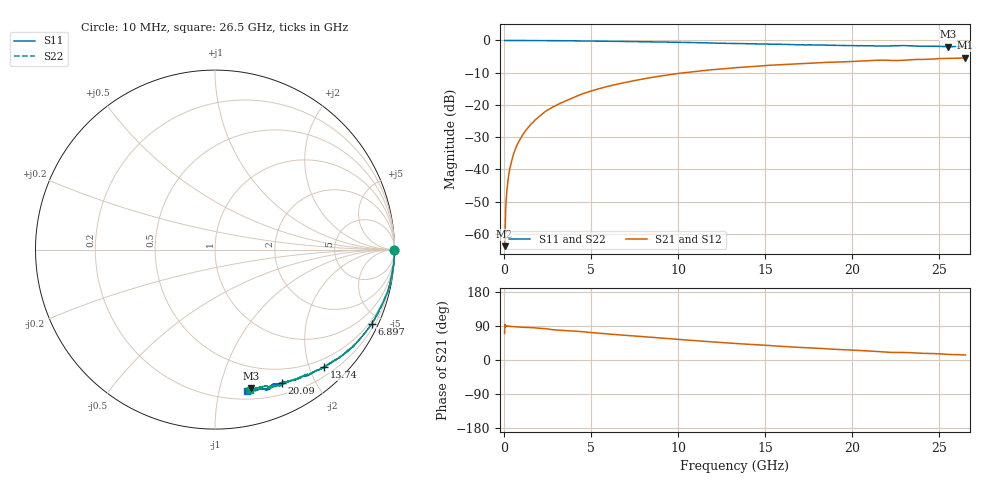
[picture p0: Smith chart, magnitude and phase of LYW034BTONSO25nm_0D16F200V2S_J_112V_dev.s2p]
!Keysight Technologies,N5222B,MY61253708,A.15.00.15
!Date: Wednesday, June 19, 2024 09:44:45
!Correction: S11(C  2-Port  )
!S21(C  2-Port  )
!S12(C  2-Port  )
!S22(C  2-Port  )
!S2P File: Measurements: S11, S21, S12, S22:
# Hz S  RI  R 50
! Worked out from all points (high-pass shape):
!   2651 points, 10 MHz to 26.5 GHz, reference 50 ohm
!   highest |S21| = -5.38 dB at 26.5 GHz (marker M1); lowest = -63.8 dB at 10 MHz (marker M2)
!   |S21| within 3 dB of the highest: 13.45 GHz to end of sweep
!   lowest |S11| = -2.0 dB at 25.5 GHz (marker M3), VSWR 8.86, Z = 14.7 - j62.4 ohm
!   |S11| at or under -10 dB: nowhere
!   |S22| runs from -1.9 to 0.0 dB; largest |S21 - S12| = 0.0064
!   S11 on the Smith chart (normalised r, x): 10 MHz: open; 6.897 GHz: 0.36, -4.42; 13.74 GHz: 0.35, -2.24; 20.09 GHz: 0.33, -1.58; 26.5 GHz: 0.27, -1.22
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1e7  0.9986 -0.00284  0.000218 0.000608  7.78e-05 0.000571  0.9984 -0.00131
6.997736e7  1 -0.00523  -2.33e-05 0.00231  2.72e-05 0.00231  0.9997 -0.00472
1.799358e8  0.9999 -0.0121  4.04e-05 0.00593  8.81e-05 0.00599  0.9996 -0.0114
2.29917e8  0.9996 -0.016  0.000105 0.00761  0.000127 0.00766  0.9993 -0.015
2.898943e8  0.9997 -0.0199  0.000188 0.00962  0.000189 0.00969  0.9996 -0.019
3.998528e8  0.9992 -0.0274  0.00038 0.0132  0.000377 0.0133  0.9994 -0.0262
5.398e8  0.999 -0.0361  0.000589 0.0178  0.000619 0.018  0.9987 -0.0351
8.996642e8  0.9977 -0.0602  0.00167 0.0294  0.0017 0.0297  0.9972 -0.0585
1.499438e9  0.9904 -0.1004  0.00414 0.0494  0.00416 0.0497  0.9933 -0.097
2.369109e9  0.9819 -0.1545  0.0104 0.079  0.0107 0.0796  0.9833 -0.154
3.248777e9  0.9697 -0.2096  0.0215 0.1051  0.0218 0.1058  0.9708 -0.2095
4.428332e9  0.9424 -0.2809  0.0383 0.1414  0.0388 0.1424  0.9447 -0.277
6.8974e9  0.8726 -0.4133  0.0929 0.2019  0.0943 0.2026  0.875 -0.4114
8.846664e9  0.8024 -0.5028  0.1449 0.2366  0.1465 0.2373  0.8054 -0.4995
1.3255e10  0.6259 -0.6428  0.2722 0.2609  0.2747 0.2606  0.6323 -0.6397
1.374482e10  0.6064 -0.6555  0.2849 0.2594  0.2874 0.2586  0.6118 -0.6505
1.767333e10  0.4536 -0.7217  0.3785 0.2331  0.3821 0.2313  0.4673 -0.7183
2.009242e10  0.3743 -0.7411  0.4258 0.2071  0.4278 0.2045  0.3919 -0.7387
2.209166e10  0.3181 -0.7542  0.4613 0.171  0.4632 0.168  0.3159 -0.7602
2.308129e10  0.2897 -0.7819  0.4661 0.167  0.4672 0.1658  0.2933 -0.763
2.550038e10  0.1995 -0.7717  0.5104 0.1345  0.5119 0.1338  0.2233 -0.775
2.65e10  0.1801 -0.7857  0.5238 0.1232  0.5233 0.1193  0.1969 -0.7848
